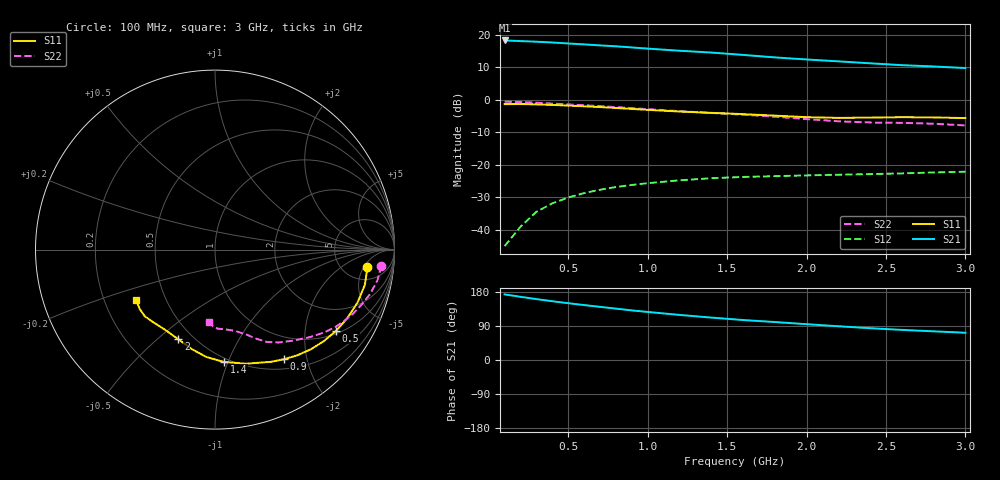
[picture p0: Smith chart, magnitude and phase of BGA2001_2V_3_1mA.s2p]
! Title: BGA2001
! Bias: Vce=2.0V,Ic=3.1mA
! Company: Philips Semiconductors NL
! User: Quality&Reliability T&D
! Measure time: 23 Oct 1998 / 09:19:30
#  MHz  S  MA  R 50
! Freq  S11  S21  S12  S22  :
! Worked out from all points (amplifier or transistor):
!   20 points, 100 MHz to 3 GHz, reference 50 ohm
!   highest |S21| = 18.2 dB at 100 MHz (marker M1)
!   |S21| within 3 dB of that: start of sweep to 1.153 GHz
!   unconditionally stable (mu >= 1): 2.373 GHz to end of sweep
!   at 400 MHz: K = 0.19, MSG = 24.7 dB, |S12| = -31.8 dB
!   at 1.2 GHz: K = 0.46, MSG = 19.9 dB, |S12| = -24.7 dB
!   at 3 GHz: K = 1.18, MAG = 13.4 dB, |S12| = -22.1 dB
!   S11 on the Smith chart (normalised r, x): 100 MHz: 8, -6; 500 MHz: 1.10, -2.92; 900 MHz: 0.64, -1.63; 1.4 GHz: 0.47, -0.97; 2 GHz: 0.42, -0.59; 3 GHz: 0.34, -0.26
100  0.855 -6.4  8.11 173.1  0.005657 59.3  0.9313 -5.6
200  0.8579 -13.2  7.93 166.8  0.01125 81.7  0.9206 -10.9
300  0.8472 -20.4  7.764 160.7  0.01905 79.4  0.8984 -16.1
400  0.8308 -27.2  7.546 155.1  0.02567 74.9  0.8714 -20.8
500  0.8126 -33.7  7.286 149.9  0.03155 70.9  0.847 -25.0
600  0.7924 -40.0  7.063 145.0  0.03687 67.3  0.8218 -29.0
700  0.771 -46.0  6.81 140.3  0.04152 64.1  0.7967 -32.8
800  0.7468 -52.0  6.598 135.6  0.04569 61.1  0.77 -36.3
900  0.7219 -57.8  6.341 130.9  0.0492 58.4  0.7427 -39.7
1000  0.6988 -63.5  6.079 126.8  0.0524 56.0  0.7163 -43.1
1200  0.6589 -74.8  5.642 119.0  0.05789 51.9  0.6666 -49.6
1400  0.6281 -85.4  5.29 111.9  0.06243 48.5  0.6267 -55.7
1600  0.6006 -94.5  4.87 105.5  0.06524 46.5  0.5897 -60.7
1800  0.5696 -103.0  4.457 100.2  0.0671 45.7  0.5491 -65.0
2000  0.5396 -112.3  4.144 94.5  0.0689 44.3  0.5039 -69.8
2200  0.5262 -122.1  3.876 89.1  0.07058 43.0  0.4668 -76.1
2400  0.5312 -130.4  3.62 83.9  0.07217 42.7  0.447 -82.9
2600  0.5394 -136.4  3.387 79.5  0.07399 44.0  0.4409 -88.1
2800  0.5346 -141.5  3.235 75.7  0.07649 44.2  0.4284 -91.5
3000  0.5224 -147.3  3.06 71.9  0.07856 45.0  0.4027 -95.1
